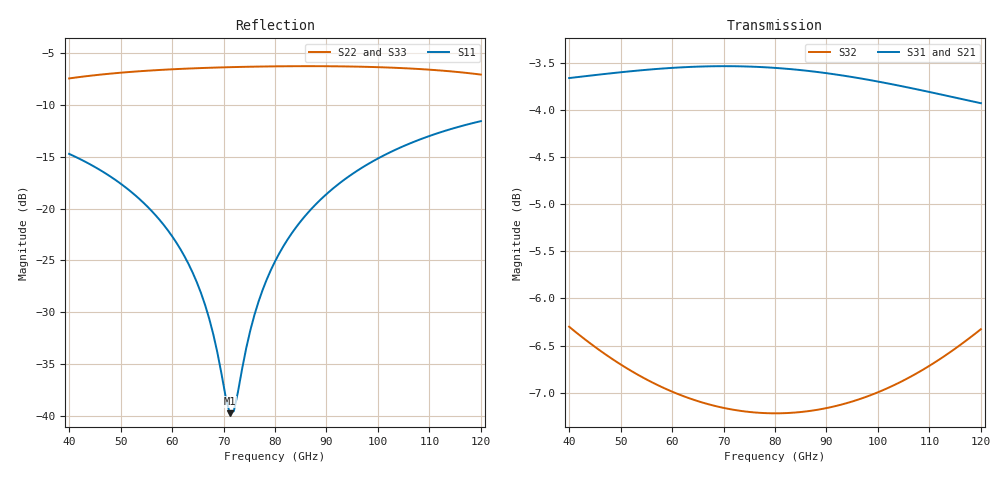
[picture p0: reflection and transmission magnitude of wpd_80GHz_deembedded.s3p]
! Created with skrf 2.0.1 (http://scikit-rf.org).
# GHz S DB R 50.0
!freq dBS11 angS11 dBS12 angS12 dBS13 angS13
! dBS21 angS21 dBS22 angS22 dBS23 angS23
! dBS31 angS31 dBS32 angS32 dBS33 angS33
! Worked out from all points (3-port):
!   101 points, 40 GHz to 120 GHz, reference 50 ohm
!   strongest paths, dB at 40 GHz, 60 GHz, 80 GHz, 100 GHz, 120 GHz:
!     S31: -3.7, -3.6, -3.6, -3.7, -3.9
!     S21: -3.7, -3.6, -3.6, -3.7, -3.9
!     S32: -6.3, -7.0, -7.2, -7.0, -6.3
!   lowest |S11| = -39.8 dB at 71.2 GHz (marker M1), VSWR 1.02, Z = 50.9 + j0.418 ohm
!   |S11| at or under -10 dB: start of sweep to end of sweep
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40  -14.70 133.4  -3.67 -44.2  -3.66 -44.2
    -3.67 -44.2  -7.41 47.7  -6.30 -99.2
    -3.66 -44.2  -6.30 -99.2  -7.44 47.6
52.8  -18.68 117.5  -3.60 -58.8  -3.59 -58.8
      -3.60 -58.8  -6.75 28.3  -6.79 -126.4
      -3.59 -58.8  -6.79 -126.4  -6.78 28.2
61.6  -23.89 103.6  -3.56 -69.0  -3.55 -69.1
      -3.56 -69.0  -6.49 17.0  -7.02 -144.6
      -3.55 -69.1  -7.02 -144.6  -6.52 16.9
67.2  -30.59 86.5  -3.55 -75.6  -3.54 -75.7
      -3.55 -75.6  -6.39 10.4  -7.12 -156.1
      -3.54 -75.7  -7.12 -156.1  -6.41 10.2
71.2  -39.77 23.5  -3.55 -80.3  -3.54 -80.4
      -3.55 -80.3  -6.33 5.8  -7.17 -164.2
      -3.54 -80.4  -7.17 -164.2  -6.35 5.6
72  -39.56 -6.1  -3.55 -81.3  -3.54 -81.3
    -3.55 -81.3  -6.32 4.9  -7.18 -165.9
    -3.54 -81.3  -7.18 -165.9  -6.34 4.7
76  -30.27 -64.4  -3.56 -86.0  -3.54 -86.1
    -3.56 -86.0  -6.28 0.4  -7.21 -174.0
    -3.54 -86.1  -7.21 -174.0  -6.30 0.2
80  -25.10 -77.6  -3.57 -90.7  -3.56 -90.8
    -3.57 -90.7  -6.25 -4.1  -7.22 177.9
    -3.56 -90.8  -7.22 177.9  -6.28 -4.3
95.2  -16.59 -101.1  -3.67 -108.5  -3.65 -108.6
      -3.67 -108.5  -6.27 -21.6  -7.09 146.8
      -3.65 -108.6  -7.09 146.8  -6.29 -21.8
120  -11.54 -129.4  -3.93 -136.6  -3.93 -136.9
     -3.93 -136.6  -7.04 -57.0  -6.33 94.0
     -3.93 -136.9  -6.33 94.0  -7.05 -57.4
